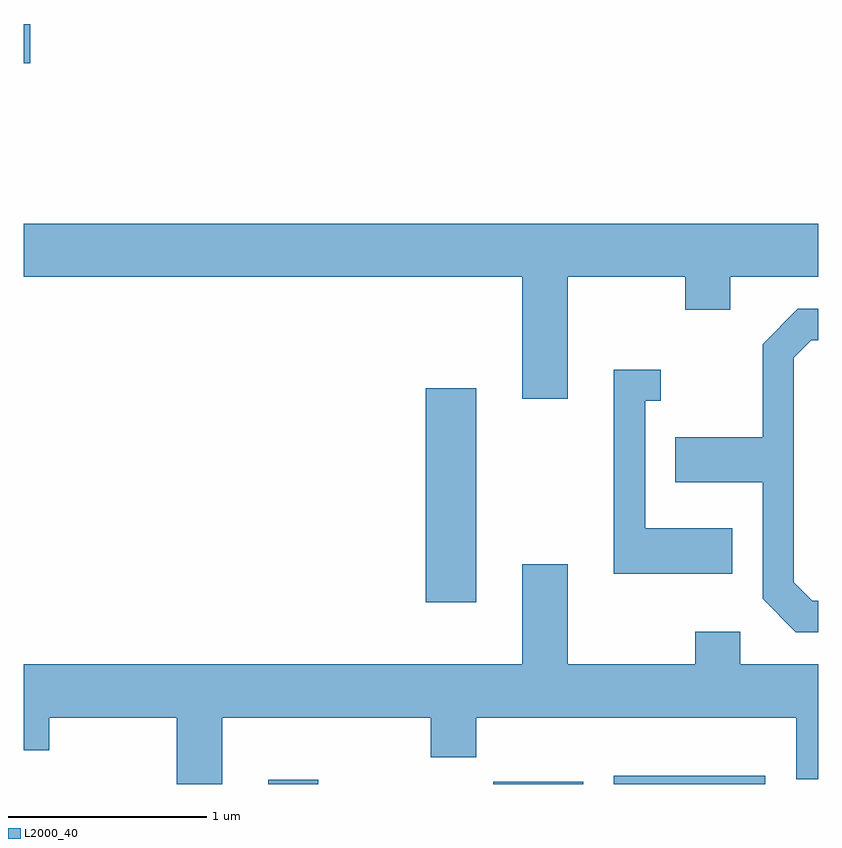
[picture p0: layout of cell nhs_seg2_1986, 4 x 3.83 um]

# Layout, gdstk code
import gdstk
lib = gdstk.Library(unit=1e-6, precision=1e-09)
def R(c, l, rs):  # rectangles x0, y0, x1, y1
    for r in rs: c.add(gdstk.rectangle(r[:2], r[2:], *l))
def P(c, l, *ps):  # polygons
    for p in ps: c.add(gdstk.Polygon(p, *l))
L2000_40 = (2000, 40)

nhs_seg2_1986 = lib.new_cell('nhs_seg2_1986')
R(nhs_seg2_1986, L2000_40, [(244.841,1005.802,245.094,1005.824), (245.976,1005.802,246.429,1005.814), (246.581,1005.802,247.344,1005.844), (245.636,1006.716,245.889,1007.794), (243.611,1009.431,243.644,1009.629)])
P(nhs_seg2_1986, L2000_40, [(246.349,1008.356),(246.941,1008.356),(246.941,1008.191),(247.169,1008.191),(247.169,1008.356),(247.611,1008.356),(247.611,1008.624),(243.611,1008.624),(243.611,1008.356),(246.121,1008.356),(246.121,1007.741),(246.349,1007.741)],
  [(247.611,1006.724),(247.582,1006.724),(247.489,1006.817),(247.489,1007.949),(247.577,1008.036),(247.611,1008.036),(247.611,1008.194),(247.509,1008.194),(247.331,1008.017),(247.331,1007.549),(246.891,1007.549),(246.891,1007.321),(247.331,1007.321),(247.331,1006.734),(247.499,1006.566),(247.611,1006.566)],
  [(247.179,1007.089),(246.739,1007.089),(246.739,1007.731),(246.818,1007.731),(246.818,1007.889),(246.581,1007.889),(246.581,1006.861),(247.179,1006.861)],
  [(244.609,1006.136),(245.661,1006.136),(245.661,1005.936),(245.889,1005.936),(245.889,1006.136),(247.501,1006.136),(247.501,1005.826),(247.611,1005.826),(247.611,1006.404),(247.219,1006.404),(247.219,1006.569),(246.991,1006.569),(246.991,1006.404),(246.349,1006.404),(246.349,1006.909),(246.121,1006.909),(246.121,1006.404),(243.611,1006.404),(243.611,1005.971),(243.739,1005.971),(243.739,1006.136),(244.381,1006.136),(244.381,1005.802),(244.609,1005.802)])

lib.write_gds('nhs_seg2_1986.gds')
